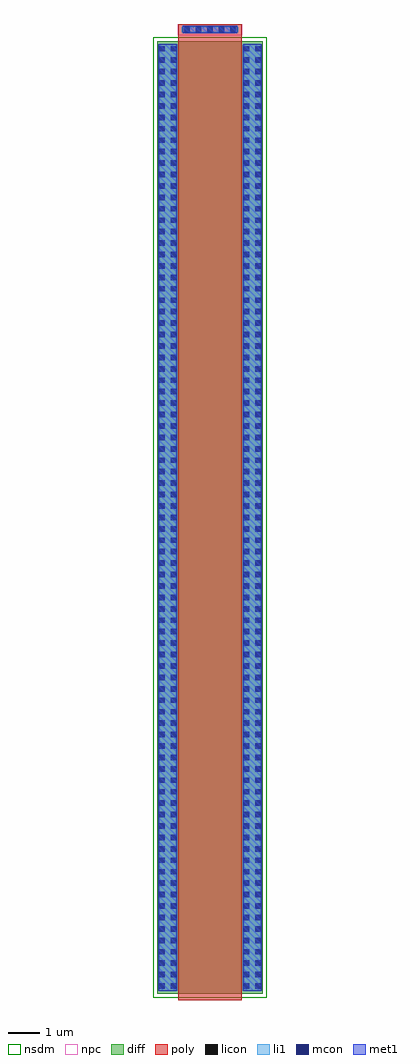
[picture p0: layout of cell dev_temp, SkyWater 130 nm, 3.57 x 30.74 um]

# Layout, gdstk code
import gdstk
lib = gdstk.Library(unit=1e-6, precision=1e-09)
def R(c, l, rs):  # rectangles x0, y0, x1, y1
    for r in rs: c.add(gdstk.rectangle(r[:2], r[2:], *l))
diff = (65, 20)
poly = (66, 20)
licon = (66, 44)
li1 = (67, 20)
mcon = (67, 44)
met1 = (68, 20)
nsdm = (93, 44)
npc = (95, 20)

compass_d3cfdc45 = lib.new_cell('compass_d3cfdc45')
R(compass_d3cfdc45, diff, [(-1.66,-15,1.66,15)])

rectangle_d3cfdc45 = lib.new_cell('rectangle_d3cfdc45')
rectangle_d3cfdc45.add(gdstk.Reference(compass_d3cfdc45, (1.66,15)))

compass_13620e5c = lib.new_cell('compass_13620e5c')
R(compass_13620e5c, licon, [(-0.085,-0.085,0.085,0.085)])

rectangle_13620e5c = lib.new_cell('rectangle_13620e5c')
rectangle_13620e5c.add(gdstk.Reference(compass_13620e5c, (0.085,0.085)))

via_generator_187741c6 = lib.new_cell('via_generator_187741c6')
r = gdstk.Reference(rectangle_13620e5c, (0.065,0.155)); r.repetition = gdstk.Repetition(2, 83, v1=(0.36,0), v2=(0,0.36)); via_generator_187741c6.add(r)

compass_5bc78aa5 = lib.new_cell('compass_5bc78aa5')
R(compass_5bc78aa5, li1, [(-0.265,-14.925,0.265,14.925)])

rectangle_5bc78aa5 = lib.new_cell('rectangle_5bc78aa5')
rectangle_5bc78aa5.add(gdstk.Reference(compass_5bc78aa5, (0.265,14.925)))

compass_3c2dbaf2 = lib.new_cell('compass_3c2dbaf2')
R(compass_3c2dbaf2, mcon, [(-0.085,-0.085,0.085,0.085)])

rectangle_3c2dbaf2 = lib.new_cell('rectangle_3c2dbaf2')
rectangle_3c2dbaf2.add(gdstk.Reference(compass_3c2dbaf2, (0.085,0.085)))

via_generator_56c08654 = lib.new_cell('via_generator_56c08654')
r = gdstk.Reference(rectangle_3c2dbaf2, (0.065,0.155)); r.repetition = gdstk.Repetition(2, 83, v1=(0.36,0), v2=(0,0.36)); via_generator_56c08654.add(r)

compass_97daf01b = lib.new_cell('compass_97daf01b')
R(compass_97daf01b, met1, [(-0.295,-14.905,0.295,14.905)])

rectangle_97daf01b = lib.new_cell('rectangle_97daf01b')
rectangle_97daf01b.add(gdstk.Reference(compass_97daf01b, (0.295,14.905)))

via_stack_e9f0177d = lib.new_cell('via_stack_e9f0177d')
via_stack_e9f0177d.add(gdstk.Reference(via_generator_187741c6, (0,0)))
via_stack_e9f0177d.add(gdstk.Reference(rectangle_5bc78aa5, (0.065,0.075)))
via_stack_e9f0177d.add(gdstk.Reference(via_generator_56c08654, (0,0)))
via_stack_e9f0177d.add(gdstk.Reference(rectangle_97daf01b, (0.035,0.095)))

compass_3b600d50 = lib.new_cell('compass_3b600d50')
R(compass_3b600d50, poly, [(-1,-15.2,1,15.2)])

rectangle_3b600d50 = lib.new_cell('rectangle_3b600d50')
rectangle_3b600d50.add(gdstk.Reference(compass_3b600d50, (1,15.2)))

compass_3b83cc6f = lib.new_cell('compass_3b83cc6f')
R(compass_3b83cc6f, poly, [(-1,-0.165,1,0.165)])

rectangle_3b83cc6f = lib.new_cell('rectangle_3b83cc6f')
rectangle_3b83cc6f.add(gdstk.Reference(compass_3b83cc6f, (1,0.165)))

compass_933c21e2 = lib.new_cell('compass_933c21e2')
R(compass_933c21e2, npc, [(-1.01,-0.175,1.01,0.175)])

rectangle_933c21e2 = lib.new_cell('rectangle_933c21e2')
rectangle_933c21e2.add(gdstk.Reference(compass_933c21e2, (1.01,0.175)))

via_generator_ba25437c = lib.new_cell('via_generator_ba25437c')
r = gdstk.Reference(rectangle_13620e5c, (0.195,0.08)); r.repetition = gdstk.Repetition(5, 1, v1=(0.36,0), v2=(0,0.36)); via_generator_ba25437c.add(r)

compass_e6c875a1 = lib.new_cell('compass_e6c875a1')
R(compass_e6c875a1, li1, [(-0.885,-0.085,0.885,0.085)])

rectangle_e6c875a1 = lib.new_cell('rectangle_e6c875a1')
rectangle_e6c875a1.add(gdstk.Reference(compass_e6c875a1, (0.885,0.085)))

via_generator_2684a1ae = lib.new_cell('via_generator_2684a1ae')
r = gdstk.Reference(rectangle_3c2dbaf2, (0.195,0.08)); r.repetition = gdstk.Repetition(5, 1, v1=(0.36,0), v2=(0,0.36)); via_generator_2684a1ae.add(r)

compass_8317bb95 = lib.new_cell('compass_8317bb95')
R(compass_8317bb95, met1, [(-0.865,-0.115,0.865,0.115)])

rectangle_8317bb95 = lib.new_cell('rectangle_8317bb95')
rectangle_8317bb95.add(gdstk.Reference(compass_8317bb95, (0.865,0.115)))

via_stack_4acbd8f6 = lib.new_cell('via_stack_4acbd8f6')
via_stack_4acbd8f6.add(gdstk.Reference(rectangle_933c21e2, (-0.01,-0.01)))
via_stack_4acbd8f6.add(gdstk.Reference(via_generator_ba25437c, (0,0)))
via_stack_4acbd8f6.add(gdstk.Reference(rectangle_e6c875a1, (0.115,0.08)))
via_stack_4acbd8f6.add(gdstk.Reference(via_generator_2684a1ae, (0,0)))
via_stack_4acbd8f6.add(gdstk.Reference(rectangle_8317bb95, (0.135,0.05)))

poly_con = lib.new_cell('poly con')
poly_con.add(gdstk.Reference(rectangle_3b83cc6f, (0,0)))
poly_con.add(gdstk.Reference(via_stack_4acbd8f6, (0,0)))

compass_f01dfb2f = lib.new_cell('compass_f01dfb2f')
R(compass_f01dfb2f, nsdm, [(-1.785,-15.125,1.785,15.125)])

rectangle_f01dfb2f = lib.new_cell('rectangle_f01dfb2f')
rectangle_f01dfb2f.add(gdstk.Reference(compass_f01dfb2f, (1.785,15.125)))

dev_temp = lib.new_cell('dev_temp')
dev_temp.add(gdstk.Reference(rectangle_d3cfdc45, (0,0)))
r = gdstk.Reference(via_stack_e9f0177d, (0,0)); r.repetition = gdstk.Repetition(2, 1, v1=(2.66,0), v2=(0,1)); dev_temp.add(r)
dev_temp.add(gdstk.Reference(rectangle_3b600d50, (0.66,-0.2)))
r = gdstk.Reference(poly_con, (0.66,30.2)); r.repetition = gdstk.Repetition(1, 1, v1=(1,0), v2=(0,30.73)); dev_temp.add(r)
dev_temp.add(gdstk.Reference(rectangle_f01dfb2f, (-0.125,-0.125)))

lib.write_gds('dev_temp.gds')
